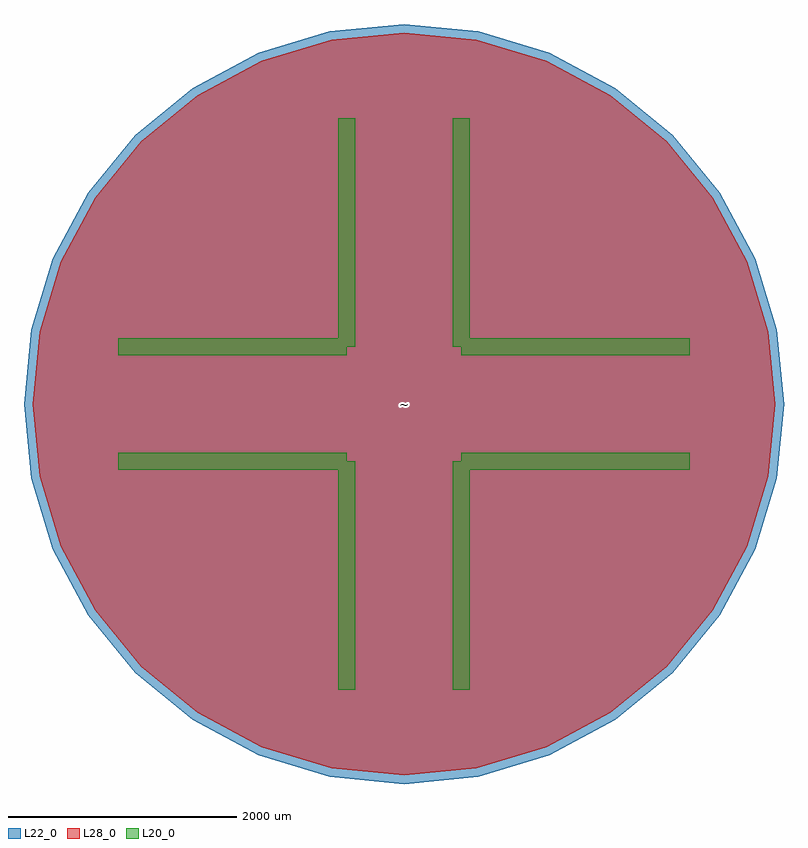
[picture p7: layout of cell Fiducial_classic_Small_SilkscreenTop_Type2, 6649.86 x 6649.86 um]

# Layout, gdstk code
import gdstk
lib = gdstk.Library(unit=1e-6, precision=1e-09)
def P(c, l, *ps):  # polygons
    for p in ps: c.add(gdstk.Polygon(p, *l))
L20_0 = (20, 0)
L22_0 = (22, 0)
L28_0 = (28, 0)

fiducial_classic_small_s = lib.new_cell('Fiducial_classic_Small_SilkscreenTop_Type2')
P(fiducial_classic_small_s, L22_0, [(3324.93,0),(3261.042,648.662),(3071.835,1272.396),(2764.578,1847.232),(2351.081,2351.081),(1847.232,2764.578),(1272.396,3071.835),(648.662,3261.042),(0,3324.93),(-648.662,3261.042),(-1272.396,3071.835),(-1847.232,2764.578),(-2351.081,2351.081),(-2764.578,1847.232),(-3071.835,1272.396),(-3261.042,648.662),(-3324.93,0),(-3261.042,-648.662),(-3071.835,-1272.396),(-2764.578,-1847.232),(-2351.081,-2351.081),(-1847.232,-2764.578),(-1272.396,-3071.835),(-648.662,-3261.042),(0,-3324.93),(648.662,-3261.042),(1272.396,-3071.835),(1847.232,-2764.578),(2351.081,-2351.081),(2764.578,-1847.232),(3071.835,-1272.396),(3261.042,-648.662)])
P(fiducial_classic_small_s, L28_0, [(3249.93,0),(3187.484,634.03),(3002.544,1243.694),(2702.218,1805.564),(2298.048,2298.048),(1805.564,2702.218),(1243.694,3002.544),(634.03,3187.484),(0,3249.93),(-634.03,3187.484),(-1243.694,3002.544),(-1805.564,2702.218),(-2298.048,2298.048),(-2702.218,1805.564),(-3002.544,1243.694),(-3187.484,634.03),(-3249.93,0),(-3187.484,-634.03),(-3002.544,-1243.694),(-2702.218,-1805.564),(-2298.048,-2298.048),(-1805.564,-2702.218),(-1243.694,-3002.544),(-634.03,-3187.484),(0,-3249.93),(634.03,-3187.484),(1243.694,-3002.544),(1805.564,-2702.218),(2298.048,-2298.048),(2702.218,-1805.564),(3002.544,-1243.694),(3187.484,-634.03)])
fiducial_classic_small_s.add(gdstk.FlexPath([(500.38,500.38),(500.38,2499.36)], 149.998, ends="flush", simple_path=True, layer=20, datatype=0))  # L20_0
fiducial_classic_small_s.add(gdstk.FlexPath([(500.38,500.38),(2499.36,500.38)], 149.998, ends="flush", simple_path=True, layer=20, datatype=0))  # L20_0
fiducial_classic_small_s.add(gdstk.FlexPath([(-500.38,500.38),(-500.38,2499.36)], 149.998, ends="flush", simple_path=True, layer=20, datatype=0))  # L20_0
fiducial_classic_small_s.add(gdstk.FlexPath([(-500.38,500.38),(-2499.36,500.38)], 149.998, ends="flush", simple_path=True, layer=20, datatype=0))  # L20_0
fiducial_classic_small_s.add(gdstk.FlexPath([(-500.38,-500.38),(-2499.36,-500.38)], 149.998, ends="flush", simple_path=True, layer=20, datatype=0))  # L20_0
fiducial_classic_small_s.add(gdstk.FlexPath([(-500.38,-500.38),(-500.38,-2499.36)], 149.998, ends="flush", simple_path=True, layer=20, datatype=0))  # L20_0
fiducial_classic_small_s.add(gdstk.FlexPath([(500.38,-500.38),(2499.36,-500.38)], 149.998, ends="flush", simple_path=True, layer=20, datatype=0))  # L20_0
fiducial_classic_small_s.add(gdstk.FlexPath([(500.38,-500.38),(500.38,-2499.36)], 149.998, ends="flush", simple_path=True, layer=20, datatype=0))  # L20_0
fiducial_classic_small_s.add(gdstk.Label('~', (0,0), layer=28, texttype=0))
fiducial_classic_small_s.add(gdstk.Label('type', (0,-5588), layer=9, texttype=0))
fiducial_classic_small_s.add(gdstk.Label('devicename', (0,5588), layer=9, texttype=0))

lib.write_gds('Fiducial_classic_Small_SilkscreenTop_Type2.gds')
